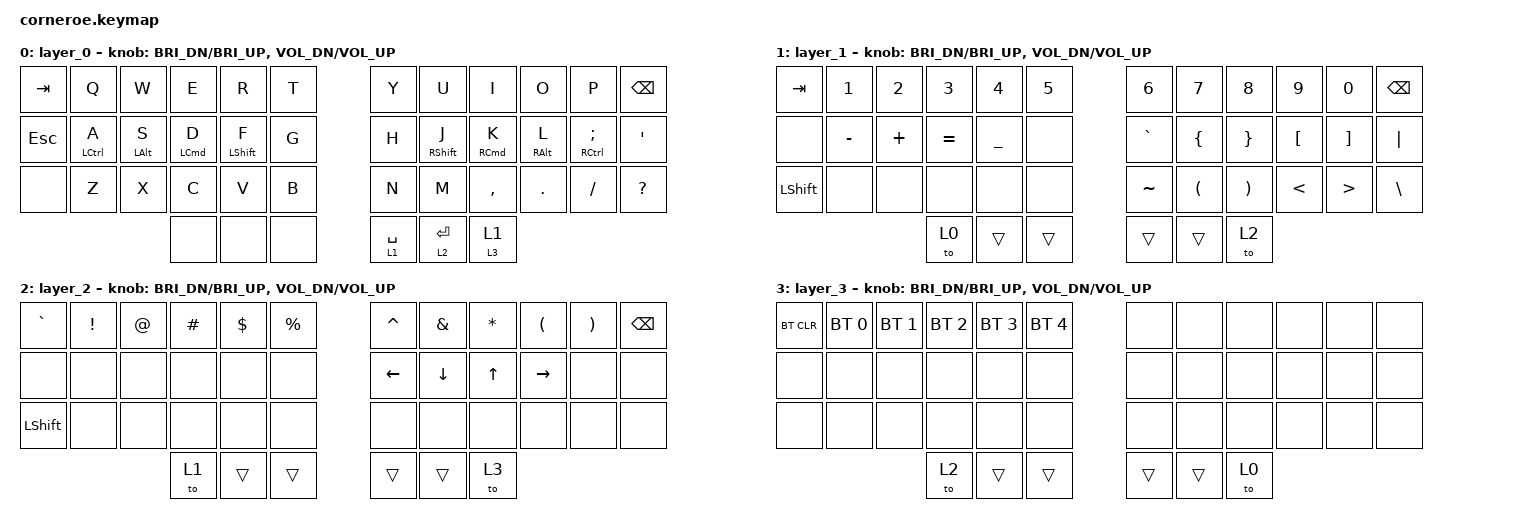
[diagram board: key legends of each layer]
/*
 * Copyright (c) 2020 The ZMK Contributors
 *
 * SPDX-License-Identifier: MIT
 */

#include <behaviors.dtsi>
#include <dt-bindings/zmk/mouse.h>
#include <dt-bindings/zmk/behaviors.h>
#include <dt-bindings/zmk/bt.h>
#include <dt-bindings/zmk/ext_power.h>
#include <dt-bindings/zmk/keys.h>
#include <dt-bindings/zmk/outputs.h>
#include <dt-bindings/zmk/pointing.h>

// cursor speed

#define ZMK_MOUSE_DEFAULT_MOVE_VAL 3000  // 600

// scroll speed

#define ZMK_MOUSE_DEFAULT_SCRL_VAL 20    // 10

// mouse move behavior

&mmv {
    time-to-max-speed-ms = <200>;
    delay-ms = <0>;
};

/ {
    behaviors {
        my_mt: my_mod_tap {
            compatible = "zmk,behavior-hold-tap";
            #binding-cells = <2>;
            flavor = "balanced";
            tapping-term-ms = <300>;
            require-prior-idle-ms = <150>;
            bindings = <&kp>, <&kp>;

            display-name = "My-Mod-Tap";
        };

        my_lt: my_layer_tap {
            compatible = "zmk,behavior-hold-tap";
            #binding-cells = <2>;
            flavor = "tap-preferred";
            tapping-term-ms = <400>;
            bindings = <&mo>, <&kp>;
            display-name = "My-Layer-Tap";
        };

        my_llt: my_layer_layer_tap {
            compatible = "zmk,behavior-hold-tap";
            #binding-cells = <2>;
            flavor = "tap-preferred";
            tapping-term-ms = <400>;
            bindings = <&mo>, <&to>;
            display-name = "My-Layer-Layer-Tap";
        };
    };

    keymap {
        compatible = "zmk,keymap";

        layer_0 {
            // -----------------------------------------------------------------------------------------
            // | TAB  |  Q  |  W  |  E  |  R  |  T  |   |  Y  |  U   |  I  |  O  |  P  | BSPC |
            // | ESC  |CTL/A|OPT/S|CMD/D|SFT/F|  G  |   |  H  |SFT/J |CMD/K|OPT/L|CTL/;|  '   |
            // |      |  Z  |  X  |  C  |  V  |  B  |   |  N  |  M   |  ,  |  .  |  /  |  ?   |
            //                    |     |      |     |   |SPC/L|RET/R | 1/3 |

            bindings = <
&kp TAB     &kp Q  &kp W  &kp E         &kp R             &kp T               &kp Y           &kp U           &kp I      &kp O    &kp P     &kp BSPC
&kp ESCAPE  &my_mt LEFT_CONTROL A  &my_mt LEFT_ALT S  &my_mt LEFT_COMMAND D  &my_mt LSHFT F  &kp G  &kp H  &my_mt RSHFT J  &my_mt RIGHT_COMMAND K  &my_mt RIGHT_ALT L  &my_mt RIGHT_CONTROL SEMI  &kp SQT
&none       &kp Z  &kp X  &kp C         &kp V             &kp B               &kp N           &kp M           &kp COMMA  &kp DOT  &kp FSLH  &kp QUESTION
                          &none             &none         &none    &my_lt 1 SPACE  &my_lt 2 RET    &my_llt 3 1
            >;

            // Left encoder: Brightness Down/Up, Right encoder: Volume Down/Up 
            sensor-bindings = <&inc_dec_kp C_BRI_DN C_BRI_UP &inc_dec_kp C_VOL_DN C_VOL_UP>;
        };

        layer_1 {
            // -----------------------------------------------------------------------------------------
            // |  TAB |  1  |  2  |  3  |  4  |  5  |   |  6  |  7  |  8  |  9  |  0  | BSPC |
            // |      |  -  |  +  |  =  |  _  |     |   |  `  |  {  |  }  |  [  |  ]  |  |   |
            // | SHFT |     |     |     |     |     |   |  ~  |  (  |  )  |  <  |  >  |  \   |
            //                    | TO0 |TRANS|TRANS|   |TRANS|TRANS| TO2 |

            bindings = <
&kp TAB         &kp N1     &kp N2    &kp N3     &kp N4     &kp N5    &kp N6     &kp N7          &kp N8           &kp N9    &kp N0    &kp BSPC
&none           &kp MINUS  &kp PLUS  &kp EQUAL  &kp UNDER  &none     &kp GRAVE  &kp LEFT_BRACE  &kp RIGHT_BRACE  &kp LBKT  &kp RBKT  &kp PIPE
&kp LEFT_SHIFT  &none      &none     &none      &none      &none     &kp TILDE  &kp LPAR        &kp RPAR         &kp LT    &kp GT    &kp BACKSLASH
                                     &to 0      &trans     &trans    &trans     &trans          &to 2
            >;

            // Left encoder: Brightness Down/Up, Right encoder: Volume Down/Up 
            sensor-bindings = <&inc_dec_kp C_BRI_DN C_BRI_UP &inc_dec_kp C_VOL_DN C_VOL_UP>;
        };

        layer_2 {
            // -----------------------------------------------------------------------------------------
            // |  `   |  !  |  @  |  #  |  $  |  %  |   |  ^  |  &  |  *  |  (  |  )  | BSPC |
            // |      |     |     |     |     |     |   | LFT | DWN |  UP | RGT |     |      |
            // | SHFT |     |     |     |     |     |   |     |     |     |     |     |      |
            //                    | TO1 |TRANS|TRANS|   |TRANS|TRANS| TO3 |

            bindings = <
&kp GRAVE       &kp EXCL  &kp AT  &kp HASH  &kp DLLR  &kp PRCNT    &kp CARET  &kp AMPS  &kp ASTRK  &kp LPAR   &kp RPAR  &kp BSPC
&none           &none     &none   &none     &none     &none        &kp LEFT   &kp DOWN  &kp UP     &kp RIGHT  &none     &none
&kp LEFT_SHIFT  &none     &none   &none     &none     &none        &none      &none     &none      &none      &none     &none
                                  &to 1     &trans    &trans       &trans     &trans    &to 3
            >;

            // Left encoder: Brightness Down/Up, Right encoder: Volume Down/Up 
            sensor-bindings = <&inc_dec_kp C_BRI_DN C_BRI_UP &inc_dec_kp C_VOL_DN C_VOL_UP>;
        };

        layer_3 {
            // -----------------------------------------------------------------------------------------
            // | BTCLR| BT1 | BT2 | BT3 | BT4 | BT5 |   |     |     |     |     |     |      |
            // |      |     |     |     |     |     |   |     |     |     |     |     |      |
            // |      |     |     |     |     |     |   |     |     |     |     |     |      |
            //                    | TO2 |TRANS|TRANS|   |TRANS|TRANS| TO0 |

            bindings = <
&bt BT_CLR  &bt BT_SEL 0  &bt BT_SEL 1  &bt BT_SEL 2  &bt BT_SEL 3  &bt BT_SEL 4    &none   &none   &none  &none  &none  &none
&none       &none         &none         &none         &none         &none           &none   &none   &none  &none  &none  &none
&none       &none         &none         &none         &none         &none           &none   &none   &none  &none  &none  &none
                                        &to 2         &trans        &trans          &trans  &trans  &to 0
            >;

            // Left encoder: Brightness Down/Up, Right encoder: Volume Down/Up 
            sensor-bindings = <&inc_dec_kp C_BRI_DN C_BRI_UP &inc_dec_kp C_VOL_DN C_VOL_UP>;
        };
    };
};
